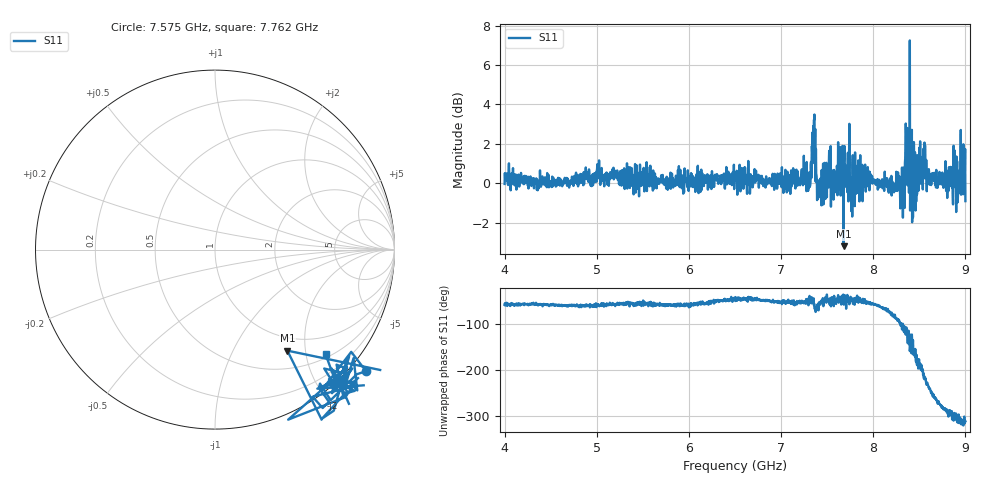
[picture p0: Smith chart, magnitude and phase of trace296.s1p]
! Created with skrf 1.8.0 (http://scikit-rf.org).
# Hz S RI R 50.0
!freq ReS11 ImS11
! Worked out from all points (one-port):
!   1601 points, 4 GHz to 9 GHz, reference 50 ohm
!   lowest |S11| = -3.2 dB at 7.678 GHz (marker M1), VSWR 5.50, Z = 38.7 - j83.6 ohm
!   |S11| at or under -10 dB: nowhere
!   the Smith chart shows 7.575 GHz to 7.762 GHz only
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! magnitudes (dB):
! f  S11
! 4 GHz  0.0
! 4.625 GHz  -0.2
! 5.25 GHz  -0.1
! 5.875 GHz  -0.1
! 6.5 GHz  0.5
! 7.125 GHz  0.2
! 7.294 GHz  -0.4
! 7.319 GHz  0.1
! 7.347 GHz  2.5
! 7.366 GHz  1.4
! 7.412 GHz  -0.6
! 7.512 GHz  0.9
! 7.566 GHz  -0.6
! 7.678 GHz  -3.2
! 7.75 GHz  0.2
! 7.775 GHz  0.9
! 7.844 GHz  0.5
! 8.316 GHz  0.2
! 8.334 GHz  0.7
! 8.375 GHz  1.0
! 8.406 GHz  -0.4
! 8.422 GHz  -2.0
! 8.425 GHz  -1.1
! 8.544 GHz  1.7
! 8.712 GHz  0.1
! 8.919 GHz  -0.6
! 8.972 GHz  0.4
! 9 GHz  -0.9
